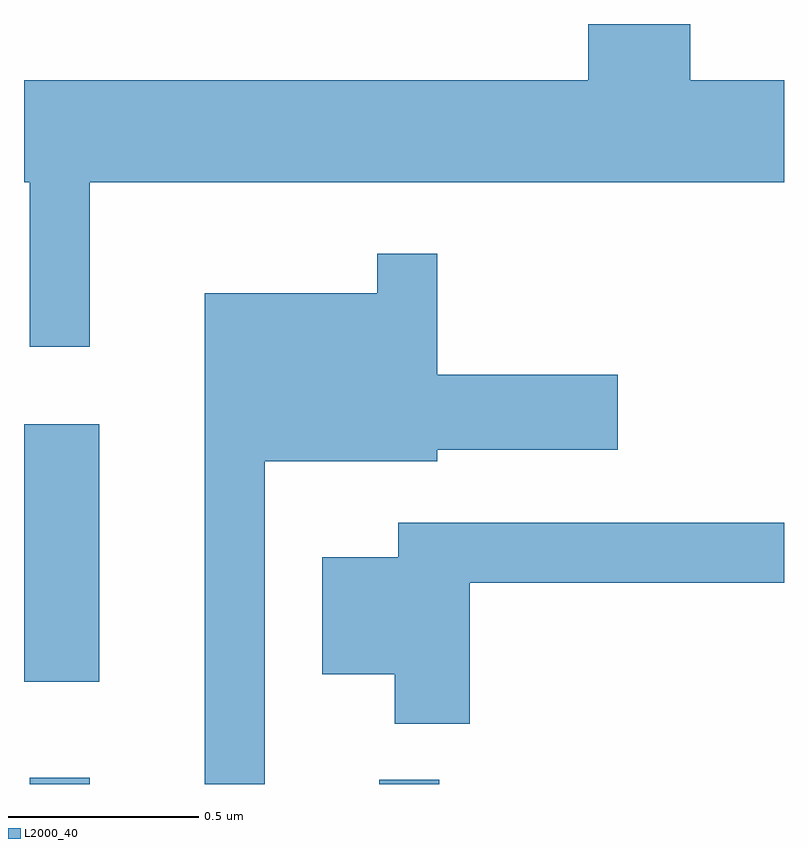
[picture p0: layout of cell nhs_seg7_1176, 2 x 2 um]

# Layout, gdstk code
import gdstk
lib = gdstk.Library(unit=1e-6, precision=1e-09)
def R(c, l, rs):  # rectangles x0, y0, x1, y1
    for r in rs: c.add(gdstk.rectangle(r[:2], r[2:], *l))
def P(c, l, *ps):  # polygons
    for p in ps: c.add(gdstk.Polygon(p, *l))
L2000_40 = (2000, 40)

nhs_seg7_1176 = lib.new_cell('nhs_seg7_1176')
R(nhs_seg7_1176, L2000_40, [(193.626,1748.252,193.784,1748.268), (194.546,1748.252,194.704,1748.263), (193.611,1748.521,193.809,1749.199)])
P(nhs_seg7_1176, L2000_40, [(193.784,1749.836),(195.611,1749.836),(195.611,1750.104),(195.364,1750.104),(195.364,1750.252),(195.096,1750.252),(195.096,1750.104),(193.611,1750.104),(193.611,1749.836),(193.626,1749.836),(193.626,1749.403),(193.784,1749.403)],
  [(194.244,1749.101),(194.699,1749.101),(194.699,1749.131),(195.174,1749.131),(195.174,1749.329),(194.699,1749.329),(194.699,1749.648),(194.541,1749.648),(194.541,1749.544),(194.086,1749.544),(194.086,1748.252),(194.244,1748.252)],
  [(194.784,1748.781),(195.611,1748.781),(195.611,1748.939),(194.596,1748.939),(194.596,1748.849),(194.396,1748.849),(194.396,1748.541),(194.586,1748.541),(194.586,1748.411),(194.784,1748.411)])

lib.write_gds('nhs_seg7_1176.gds')
